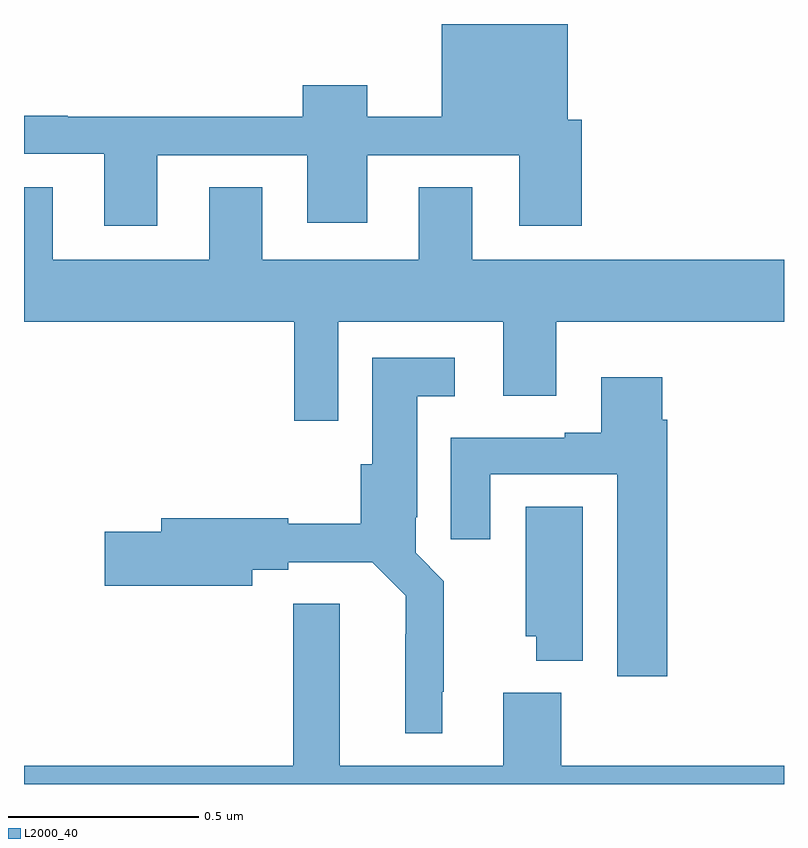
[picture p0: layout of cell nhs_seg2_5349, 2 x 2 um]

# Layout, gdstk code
import gdstk
lib = gdstk.Library(unit=1e-6, precision=1e-09)
def P(c, l, *ps):  # polygons
    for p in ps: c.add(gdstk.Polygon(p, *l))
L2000_40 = (2000, 40)

nhs_seg2_5349 = lib.new_cell('nhs_seg2_5349')
P(nhs_seg2_5349, L2000_40, [(178.351,601.455),(178.745,601.455),(178.745,601.277),(178.903,601.277),(178.903,601.455),(179.303,601.455),(179.303,601.269),(179.468,601.269),(179.468,601.548),(179.431,601.548),(179.431,601.8),(179.099,601.8),(179.099,601.556),(178.903,601.556),(178.903,601.639),(178.733,601.639),(178.733,601.556),(178.115,601.556),(178.115,601.559),(178,601.559),(178,601.458),(178.211,601.458),(178.211,601.269),(178.351,601.269)],
  [(178.827,601.016),(179.261,601.016),(179.261,600.822),(179.401,600.822),(179.401,601.016),(180,601.016),(180,601.18),(179.179,601.18),(179.179,601.37),(179.039,601.37),(179.039,601.18),(178.627,601.18),(178.627,601.37),(178.487,601.37),(178.487,601.18),(178.075,601.18),(178.075,601.37),(178,601.37),(178,601.016),(178.711,601.016),(178.711,600.756),(178.827,600.756)],
  [(179.101,600.043),(179.105,600.043),(179.105,600.334),(179.031,600.408),(179.031,600.502),(179.035,600.502),(179.035,600.821),(179.134,600.821),(179.134,600.922),(178.916,600.922),(178.916,600.642),(178.886,600.642),(178.886,600.485),(178.696,600.485),(178.696,600.5),(178.361,600.5),(178.361,600.464),(178.212,600.464),(178.212,600.322),(178.6,600.322),(178.6,600.364),(178.696,600.364),(178.696,600.384),(178.916,600.384),(179.004,600.296),(179.004,600.194),(179.003,600.194),(179.003,599.933),(179.101,599.933)],
  [(179.693,600.758),(179.68,600.758),(179.68,600.871),(179.519,600.871),(179.519,600.724),(179.423,600.724),(179.423,600.711),(179.123,600.711),(179.123,600.444),(179.227,600.444),(179.227,600.615),(179.561,600.615),(179.561,600.084),(179.693,600.084)],
  [(179.47,600.53),(179.321,600.53),(179.321,600.189),(179.348,600.189),(179.348,600.125),(179.47,600.125)],
  [(180,599.848),(179.414,599.848),(179.414,600.04),(179.261,600.04),(179.261,599.848),(178.831,599.848),(178.831,600.274),(178.709,600.274),(178.709,599.848),(178,599.848),(178,599.8),(180,599.8)])

lib.write_gds('nhs_seg2_5349.gds')
